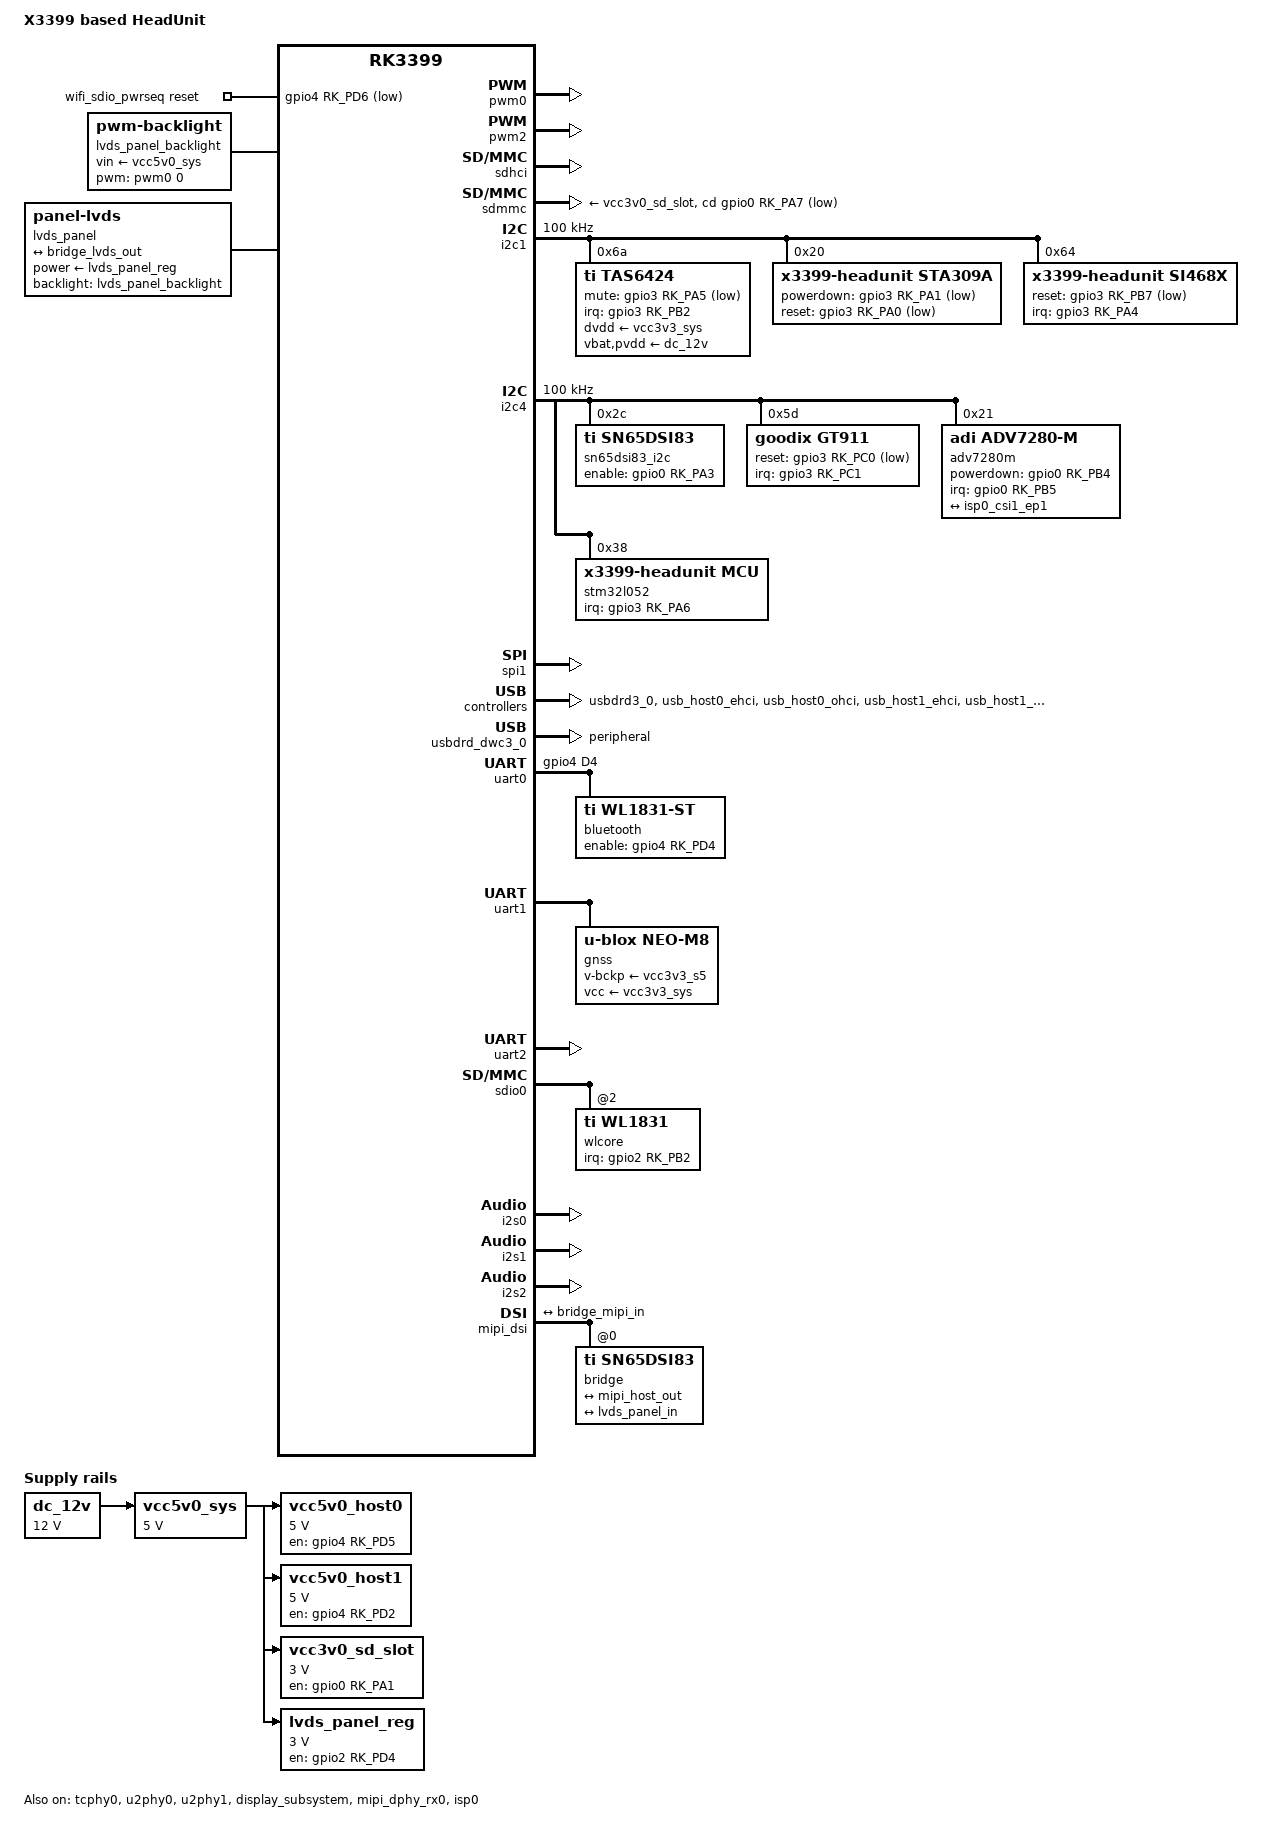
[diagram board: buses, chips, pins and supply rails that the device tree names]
// SPDX-License-Identifier: (GPL-2.0+ OR MIT)
/*
 * Copyright (C) Oleksii Gulchenko <alexey.gulchenko@gmail.com>
 */

/dts-v1/;
#include <dt-bindings/pwm/pwm.h>
#include <dt-bindings/input/input.h>
#include <dt-bindings/display/drm_mipi_dsi.h>

#include "x3399-module.dtsi"
#include "x3399-android-fstab.dtsi"

/ {
    model = "X3399 based HeadUnit";
    compatible = "rockchip,x3399headunit", "rockchip,rk3399";

    /* Board input voltage */
    dc_12v: in-12v {
        compatible = "regulator-fixed";
        regulator-name = "IN_12V";
        regulator-always-on;
        regulator-boot-on;
        regulator-min-microvolt = <12000000>;
        regulator-max-microvolt = <12000000>;
    };

    /* Standby supply 3.3v */
    vcc3v3_s5: vcc3v3-s5 {
        vin-supply = <&dc_12v>;
    };

    /* System supply 3.3v */
    vcc3v3_sys: vcc3v3-sys {
        vin-supply = <&dc_12v>;
    };

    vcc5v0_sys: vcc5v0-sys {
        compatible = "regulator-fixed";
        regulator-name = "VCC5V0_SYS";
        regulator-always-on;
        regulator-boot-on;
        regulator-min-microvolt = <5000000>;
        regulator-max-microvolt = <5000000>;
        vin-supply = <&dc_12v>;
    };

    vcc5v0_host0: usb-host0-5v0-supply {
        compatible = "regulator-fixed";
        regulator-name = "VCC_5V0_USB_HOST0";
        regulator-min-microvolt = <5000000>;
        regulator-max-microvolt = <5000000>;
        gpio = <&gpio4 RK_PD5 GPIO_ACTIVE_HIGH>;
        vin-supply = <&vcc5v0_sys>;
        enable-active-high;
    };

    vcc5v0_host1: usb-host1-5v0-supply {
        compatible = "regulator-fixed";
        regulator-name = "VCC_5V0_USB_HOST1";
        regulator-min-microvolt = <5000000>;
        regulator-max-microvolt = <5000000>;
        gpio = <&gpio4 RK_PD2 GPIO_ACTIVE_HIGH>;
        vin-supply = <&vcc5v0_sys>;
        enable-active-high;
    };

    vcc3v0_sd_slot: sd-card-3v0-supply {
        compatible = "regulator-fixed";
        regulator-name = "VCC_3V0_SDCARD";
        regulator-min-microvolt = <3000000>;
        regulator-max-microvolt = <3000000>;
        gpio = <&gpio0 RK_PA1 GPIO_ACTIVE_HIGH>;
        vin-supply = <&vcc5v0_sys>;
        enable-active-high;
    };

    wifi_sdio_pwrseq: wifi-sdio-pwrseq {
        compatible = "mmc-pwrseq-simple";
        clocks = <&rk808 1>;
        clock-names = "ext_clock";
        pinctrl-names = "default";
        pinctrl-0 = <&wifi_enable_gpio>;
        reset-gpios = <&gpio4 RK_PD6 GPIO_ACTIVE_LOW>;
    };

    lvds_panel_reg: lvds-panel-reg {
        compatible = "regulator-fixed";
        pinctrl-names = "default";
        pinctrl-0 = <&lvds_enable_gpio>;
        regulator-name = "LVDS_PANEL_REG";
        regulator-boot-on;
        regulator-always-on;
        regulator-min-microvolt = <3000000>;
        regulator-max-microvolt = <3000000>;
        gpio = <&gpio2 RK_PD4 GPIO_ACTIVE_HIGH>;
        vin-supply = <&vcc5v0_sys>;
        enable-active-high;
    };

/* ------------------------------------------------------------------ */
    lvds_panel_backlight: lvds-backlight {
        compatible = "pwm-backlight";
        pwms = <&pwm0 0 25000 0>;
        vin-supply = <&vcc5v0_sys>;
        brightness-levels = <
              0   1   2   3   4   5   6   7   8   9  10  11  12  13  14  15
             16  17  18  19  20  21  22  23  24  25  26  27  28  29  30  31
             32  33  34  35  36  37  38  39  40  41  42  43  44  45  46  47
             48  49  50  51  52  53  54  55  56  57  58  59  60  61  62  63
             64  65  66  67  68  69  70  71  72  73  74  75  76  77  78  79
             80  81  82  83  84  85  86  87  88  89  90  91  92  93  94  95
             96  97  98  99 100 101 102 103 104 105 106 107 108 109 110 111
            112 113 114 115 116 117 118 119 120 121 122 123 124 125 126 127
            128 129 130 131 132 133 134 135 136 137 138 139 140 141 142 143
            144 145 146 147 148 149 150 151 152 153 154 155 156 157 158 159
            160 161 162 163 164 165 166 167 168 169 170 171 172 173 174 175
            176 177 178 179 180 181 182 183 184 185 186 187 188 189 190 191
            192 193 194 195 196 197 198 199 200 201 202 203 204 205 206 207
            208 209 210 211 212 213 214 215 216 217 218 219 220 221 222 223
            224 225 226 227 228 229 230 231 232 233 234 235 236 237 238 239
            240 241 242 243 244 245 246 247 248 249 250 251 252 253 254 255>;
        default-brightness-level = <200>;
    };

    lvds_panel {
        compatible = "panel-lvds";
        status = "okay";

        backlight = <&lvds_panel_backlight>;
        power-supply = <&lvds_panel_reg>;

        width-mm = <176>;
        height-mm = <99>;
        data-mapping = "jeida-24";

        panel-timing {
            clock-frequency = <60000000>;
            hactive = <1024>;
            vactive = <600>;
            hback-porch = <160>;
            hfront-porch = <160>;
            vback-porch = <17>;
            vfront-porch = <17>;
            hsync-len = <4>;
            vsync-len = <1>;
            hsync-active = <0>;
            vsync-active = <0>;
            de-active = <1>;
            pixelclk-active = <0>;
        };

        port {
            lvds_panel_in: endpoint {
                remote-endpoint = <&bridge_lvds_out>;
            };
        };
    };

/* ------------------------------------------------------------------ */ 
    wl18xx_sco: bt-sco {
        compatible = "linux,bt-sco";
        #sound-dai-cells = <1>;
    };

    bluetooth_sco_sound: sound_card@1 {
        compatible = "simple-audio-card";
        simple-audio-card,name = "Bluetooth SCO";
        simple-audio-card,format = "i2s";
        simple-audio-card,mclk-fs = <256>;

        i2s1_port: simple-audio-card,cpu {
            sound-dai = <&i2s1>;
        };

        simple-audio-card,codec {
            sound-dai = <&wl18xx_sco 1>; /* bt-sco-pcm-wb */
            bitclock-master;
            frame-master;
        };
    };

    main_sound: sound_card@0 {
        compatible = "simple-audio-card";
        simple-audio-card,name = "HeadUnit Sound";
        simple-audio-card,format = "i2s";
        simple-audio-card,mclk-fs = <256>;
        simple-audio-card,aux-devs = <&tas6424>;

        i2s0_port: simple-audio-card,cpu {
            sound-dai = <&i2s0>;
            bitclock-master;
            frame-master;
        };

        simple-audio-card,codec@0 {
            sound-dai = <&sta309a>;
        };
    };
};

&pwm0 {
    status = "okay";
};

&pwm2 {
    status = "okay";
};

&io_domains {
    sdmmc-supply = <&vcc3v0_sd_slot>;   /* SDMMC0_VDD */
};

&sdhci {
    status = "okay";
};

&sdmmc {
    status = "okay";
    max-frequency = <25000000>;

    sd-uhs-sdr12;
    sd-uhs-sdr25;

    vmmc-supply = <&vcc3v0_sd_slot>;
    cd-gpios = <&gpio0 RK_PA7 GPIO_ACTIVE_LOW>;
};

&i2c1 {
    status = "okay";
    clock-frequency = <100000>;

    tas6424: tas6424@6a {
        compatible = "ti,tas6424";
        reg = <0x6a>;

        pinctrl-names = "default";
        pinctrl-0 = <&tas6424_mute_gpio &tas6424_irq_gpio>;

        interrupt-parent = <&gpio3>;
        interrupts = <RK_PB2 IRQ_TYPE_EDGE_FALLING>;
        interrupt-names = "tas6424-irq";

        mute-gpios = <&gpio3 RK_PA5 GPIO_ACTIVE_LOW>;

        dvdd-supply = <&vcc3v3_sys>;
        vbat-supply = <&dc_12v>;
        pvdd-supply = <&dc_12v>;

        #sound-dai-cells = <0>;
    };

    sta309a: sta309a@20 {
        compatible = "x3399-headunit,sta309a";
        reg = <0x20>;

        clocks = <&cru SCLK_I2S_8CH_OUT>;
        clock-names = "mclk";

        pinctrl-names = "default";
        pinctrl-0 = <&sta309a_reset_gpio &sta309a_powerdown_gpio>;

        powerdown-gpios = <&gpio3 RK_PA1 GPIO_ACTIVE_LOW>;
        reset-gpios = <&gpio3 RK_PA0 GPIO_ACTIVE_LOW>;

        #sound-dai-cells = <0>;
    };

    si468x: si468x@64 {
        compatible = "x3399-headunit,si468x";
        reg = <0x64>;

        pinctrl-names = "default";
        pinctrl-0 = <&si46xx_reset_gpio &si46xx_irq_gpio>;

        interrupt-parent = <&gpio3>;
        interrupts = <RK_PA4 IRQ_TYPE_EDGE_FALLING>;
        interrupt-names = "si46xx-irq";

        reset-gpios = <&gpio3 RK_PB7 GPIO_ACTIVE_LOW>;

        #sound-dai-cells = <0>;
    };
};

&i2c4 {
    status = "okay";
    clock-frequency = <100000>;

    sn65dsi83_i2c: dsi-lvds-bridge@2c {
        compatible = "ti,sn65dsi83";
        reg = <0x2c>;

        pinctrl-names = "default";
        pinctrl-0 = <&sn65dsi83_enable_gpio>;

        enable-gpios = <&gpio0 RK_PA3 GPIO_ACTIVE_HIGH>;
    };

    gt911@5d {
        compatible = "goodix,gt911";
        reg = <0x5d>;

        pinctrl-names = "default";
        pinctrl-0 = <&gt911_reset_gpio &gt911_irq_gpio>;

        interrupt-parent = <&gpio3>;
        interrupts = <RK_PC1 IRQ_TYPE_EDGE_RISING>;
        interrupt-names = "gt911-irq";

        reset-gpio = <&gpio3 RK_PC0 GPIO_ACTIVE_LOW>;
    };

    adv7280m@21 {
        compatible = "adi,adv7280-m";
        reg = <0x21>;

        pinctrl-names = "default";
        pinctrl-0 = <&adv7280_enable_gpio &adv7280_irq_gpio>;

        interrupt-parent = <&gpio0>;
        interrupts = <RK_PB5 IRQ_TYPE_EDGE_FALLING>;
        interrupt-names = "adv7280-irq";

        powerdown-gpios = <&gpio0 RK_PB4 GPIO_ACTIVE_HIGH>;

        port {
            adv7280m_out: endpoint {
                clock-lanes = <0>;
                data-lanes = <1>;
                remote-endpoint = <&isp0_csi1_ep1>;
            };
        };
    };

    stm32l052@38 {
        compatible = "x3399-headunit,mcu";
        reg = <0x38>;

        pinctrl-names = "default";
        pinctrl-0 = <&mcu_irq_gpio>;

        interrupt-parent = <&gpio3>;
        interrupts = <RK_PA6 IRQ_TYPE_EDGE_FALLING>;
        interrupt-names = "mcu-irq";
    };
};

&pinctrl {
    wireless {
        wifi_enable_gpio: wifi-enable-gpio {
            rockchip,pins = <4 RK_PD6 GPIO_ACTIVE_HIGH &pcfg_pull_none>;
        };

        bluetooth_enable_gpio: bluetooth-enable-gpio {
            rockchip,pins = <4 RK_PD4 GPIO_ACTIVE_HIGH &pcfg_pull_none>;
        };

        wlan_host_wake_irq: wlan-host-wake-irq {
            rockchip,pins = <2 RK_PB2 RK_FUNC_GPIO &pcfg_pull_none>;
        };
    };

    display {
        lvds_enable_gpio: lvds-enable-gpio {
            rockchip,pins = <2 RK_PD4 GPIO_ACTIVE_HIGH &pcfg_pull_down>;
        };

        sn65dsi83_enable_gpio: sn65dsi83-enable-gpio {
            rockchip,pins = <0 RK_PA3 GPIO_ACTIVE_HIGH &pcfg_pull_down>;
        };
    };

    sdcard {
        vcc3v0_sd_gpio: vcc3v0-sd-gpio {
            rockchip,pins = <0 RK_PA1 GPIO_ACTIVE_HIGH &pcfg_pull_down>;
        };
    };

    touchscreen {
        gt911_reset_gpio: gt911-reset-gpio {
            rockchip,pins = <3 RK_PC0 GPIO_ACTIVE_LOW &pcfg_pull_up>;
        };

        gt911_irq_gpio: gt911-irq-gpio {
            rockchip,pins = <3 RK_PC1 RK_FUNC_GPIO &pcfg_pull_none>;
        };
    };

    usb_hosts {
        vcc5v0_host0_gpio: vcc5v0-host0-gpio {
            rockchip,pins = <4 RK_PD3 GPIO_ACTIVE_HIGH &pcfg_pull_down>;
        };

        vcc5v0_host1_gpio: vcc5v0-host1-gpio {
            rockchip,pins = <4 RK_PD1 GPIO_ACTIVE_HIGH &pcfg_pull_down>;
        };
    };

    video {
        adv7280_enable_gpio: adv7280-enable-gpio {
            rockchip,pins = <0 RK_PB4 GPIO_ACTIVE_HIGH &pcfg_pull_down>;
        };

        adv7280_irq_gpio: adv7280-irq-gpio {
            rockchip,pins = <0 RK_PB5 RK_FUNC_GPIO &pcfg_pull_none>;
        };
    };

    audio_amplifier {
        tas6424_mute_gpio: tas6424-mute-gpio {
            rockchip,pins = <3 RK_PA5 GPIO_ACTIVE_LOW &pcfg_pull_down>;
        };

        tas6424_irq_gpio: tas6424-irq-gpio {
            rockchip,pins = <3 RK_PB2 RK_FUNC_GPIO &pcfg_pull_none>;
        };
    };

    audio_dsp {
        sta309a_reset_gpio: sta309a-reset-gpio {
            rockchip,pins = <3 RK_PA0 GPIO_ACTIVE_LOW &pcfg_pull_up>;
        };

        sta309a_powerdown_gpio: sta309a-powerdown-gpio {
            rockchip,pins = <3 RK_PA1 GPIO_ACTIVE_LOW &pcfg_pull_down>;
        };
    };

    broadcast_radio {
        si46xx_reset_gpio: si46xx-reset-gpio {
            rockchip,pins = <3 RK_PB7 GPIO_ACTIVE_LOW &pcfg_pull_up>;
        };

        si46xx_irq_gpio: si46xx-irq-gpio {
            rockchip,pins = <3 RK_PA4 RK_FUNC_GPIO &pcfg_pull_none>;
        };
    };

    mcu {
        mcu_irq_gpio: mcu-irq-gpio {
            rockchip,pins = <3 RK_PA6 RK_FUNC_GPIO &pcfg_pull_none>;
        };
    };
};

&spi1 {
    status = "okay";
};

/* USB -------------------------------------------------------------- */
&usbdrd3_0 {
    status = "okay";
};

&usbdrd_dwc3_0 {
    dr_mode = "peripheral";
    status = "okay";
};

&tcphy0 {
    status = "okay";
};

&u2phy0 {
    status = "okay";

    u2phy0_host: host-port {
        phy-supply = <&vcc5v0_host0>;
        status = "okay";
    };
};

&u2phy1 {
    status = "okay";

    u2phy1_host: host-port {
        phy-supply = <&vcc5v0_host1>;
        status = "okay";
    };
};

&usb_host0_ehci {
    status = "okay";
};

&usb_host0_ohci {
    status = "okay";
};

&usb_host1_ehci {
    status = "okay";
};

&usb_host1_ohci {
    status = "okay";
};

/* UART -------------------------------------------------------------- */
&uart0 {
    pinctrl-names = "default";
    pinctrl-0 = <&uart0_xfer &uart0_rts &uart0_cts &bluetooth_enable_gpio>;
    status = "okay";

    bluetooth {
        compatible = "ti,wl1831-st";
        max-speed = <3000000>;
        clocks = <&rk808 1>;
        clock-names = "ext_clock";

        enable-gpio = <&gpio4 RK_PD4 GPIO_ACTIVE_HIGH>;
    };
};

&uart1 {
    pinctrl-names = "default";
    pinctrl-0 = <&uart1_xfer>;
    status = "okay";

    gnss {
        compatible = "u-blox,neo-m8";
        current-speed = <9600>;
        v-bckp-supply = <&vcc3v3_s5>;
        vcc-supply = <&vcc3v3_sys>;
    };
};

&uart2 {
    status = "okay";
};

/* SDIO -------------------------------------------------------------- */
&sdio0 {
    status = "okay";

    max-frequency = <26000000>;
    clock-frequency = <26000000>;

    mmc-pwrseq = <&wifi_sdio_pwrseq>;

    wlcore: wlcore@0 {
        compatible = "ti,wl1831";
        reg = <2>;

        pinctrl-names = "default";
        pinctrl-0 = <&wlan_host_wake_irq>;

        interrupt-parent = <&gpio2>;
        interrupts = <RK_PB2 IRQ_TYPE_EDGE_RISING>;
        interrupt-names = "wlan-host-wake";
    };
};

/* I2S -------------------------------------------------------------- */
&i2s0 {
    #sound-dai-cells = <0>;
    status = "okay";

    pinctrl-names = "default";
    pinctrl-0 = <&i2s0_mclk>, <&i2s0_2ch_bus>;

    rockchip,playback-channels = <2>;
    rockchip,capture-channels = <2>;
};

&i2s1 {
    #sound-dai-cells = <0>;
    status = "okay";

    rockchip,playback-channels = <2>;
    rockchip,capture-channels = <2>;
};

&i2s2 {
    #sound-dai-cells = <0>;
    status = "okay";
};

/* ------------------------------------------------------------------ */
&display_subsystem {
    status = "okay";

    route {
        route_mipi: route-mipi {
            connect = <&vopb_out_mipi>;
        };
    };
};

&mipi_dsi {
    status = "okay";

    ports {
        mipi_out: port@1 {
            reg = <1>;
            #address-cells = <1>;
            #size-cells = <0>;

            mipi_host_out: endpoint {
                remote-endpoint = <&bridge_mipi_in>;
            };
        };
    };

    bridge {
        compatible ="ti,sn65dsi83";
        reg = <0>;

        dsi,flags = <(MIPI_DSI_MODE_VIDEO | MIPI_DSI_MODE_VIDEO_BURST |
                      MIPI_DSI_MODE_VIDEO_SYNC_PULSE)>;
        dsi,format = <MIPI_DSI_FMT_RGB888>;
        dsi,lanes = <4>;

        i2c,client = <&sn65dsi83_i2c>;

        ports {
            #address-cells = <1>;
            #size-cells = <0>;

            bridge_in: port@0 {
                reg = <0>;
                #address-cells = <1>;
                #size-cells = <0>;

                bridge_mipi_in: endpoint {
                    remote-endpoint = <&mipi_host_out>;
                };
            };

            bridge_out: port@1 {
                reg = <1>;
                #address-cells = <1>;
                #size-cells = <0>;

                bridge_lvds_out: endpoint {
                    remote-endpoint = <&lvds_panel_in>;
                };
            };
        };
    };
};

/* ------------------------------------------------------------------ */
&mipi_dphy_rx0 {
    status = "okay";
};

&isp0 {
    status = "okay";

    ports {
        port@0 {
            isp0_csi1_ep1: endpoint@1 {
                reg = <1>;
                remote-endpoint = <&adv7280m_out>;
                clock-lanes = <0>;
                data-lanes = <1>;
            };
        };
    };
};
